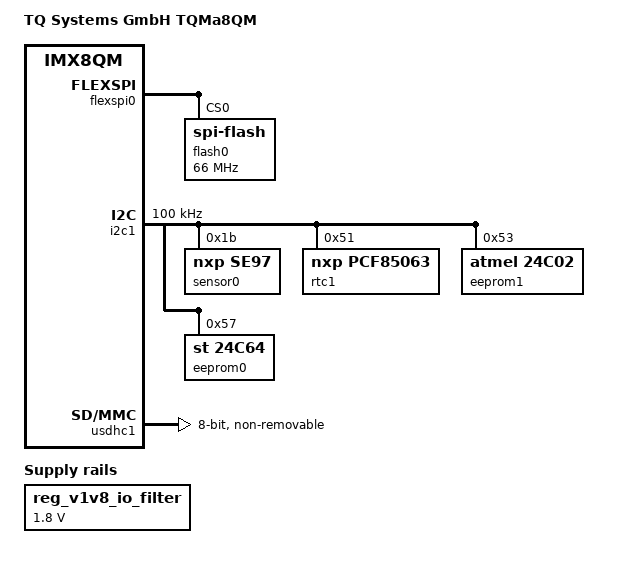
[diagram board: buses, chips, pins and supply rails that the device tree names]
/*
 * Copyright 2019 TQ Systems GmbH
 *
 * This program is free software; you can redistribute it and/or
 * modify it under the terms of the GNU General Public License
 * as published by the Free Software Foundation; either version 2
 * of the License, or (at your option) any later version.
 *
 * This program is distributed in the hope that it will be useful,
 * but WITHOUT ANY WARRANTY; without even the implied warranty of
 * MERCHANTABILITY or FITNESS FOR A PARTICULAR PURPOSE.  See the
 * GNU General Public License for more details.
 */

/ {
	model = "TQ Systems GmbH TQMa8QM";
	compatible = ",tq,tqma8qm", "fsl,imx8qm";

	lpspi1: lpspi@5a010000 {
		compatible = "fsl,imx7ulp-spi";
		reg = <0x0 0x5a010000 0x0 0x10000>;
		interrupts = <GIC_SPI 217 IRQ_TYPE_LEVEL_HIGH>;
		interrupt-parent = <&gic>;
		clocks = <&clk IMX8QM_SPI1_CLK>,
			 <&clk IMX8QM_SPI1_IPG_CLK>;
		clock-names = "per", "ipg";
		assigned-clocks = <&clk IMX8QM_SPI1_CLK>;
		assigned-clock-rates = <20000000>;
		power-domains = <&pd_dma_lpspi1>;
		dma-names = "tx","rx";
		dmas = <&edma0 3 0 0>, <&edma0 2 0 1>;
		status = "disabled";
	};

	lpspi2: lpspi@5a020000 {
		compatible = "fsl,imx7ulp-spi";
		reg = <0x0 0x5a020000 0x0 0x10000>;
		interrupts = <GIC_SPI 218 IRQ_TYPE_LEVEL_HIGH>;
		interrupt-parent = <&gic>;
		clocks = <&clk IMX8QM_SPI2_CLK>,
			 <&clk IMX8QM_SPI2_IPG_CLK>;
		clock-names = "per", "ipg";
		assigned-clocks = <&clk IMX8QM_SPI2_CLK>;
		assigned-clock-rates = <20000000>;
		power-domains = <&pd_dma_lpspi2>;
		dma-names = "tx","rx";
		dmas = <&edma0 5 0 0>, <&edma0 4 0 1>;
		status = "disabled";
	};

	reg_v1v8_io_filter: v1v8_io_filter {
		compatible = "regulator-fixed";
		regulator-name = "V_1V8_IO2_FILTER";
		regulator-min-microvolt = <1800000>;
		regulator-max-microvolt = <1800000>;
		regulator-always-on;
	};
};

&flexspi0 {
	pinctrl-names = "default";
	pinctrl-0 = <&pinctrl_flexspi0>;
	status = "okay";
	fsl,qspi-skip-dll-config;

	flash0: flash@0 {
		reg = <0>;
		#address-cells = <1>;
		#size-cells = <1>;
		compatible = "spi-flash";
		spi-max-frequency = <66000000>;
		spi-nor,ddr-quad-read-dummy = <8>;
	};
};

&gpio2 {
	status = "okay";
};

&gpio4 {
	status = "okay";
};

&gpio5 {
	status = "okay";
};

&i2c1 {
	#address-cells = <1>;
	#size-cells = <0>;
	clock-frequency = <100000>;
	pinctrl-names = "default";
	pinctrl-0 = <&pinctrl_lpi2c1>;
	status = "okay";

	/*
	 * NXP SE97BTP with temperature sensor + eeprom
	 * ATTENTION: do not use correct dt compatible since this will conflict
	 * with hwmon sysfs ABI and break device registration
	 */
	sensor0: jc42@1b {
		compatible = "nxp,se97", "jedec,jc-42.4-temp";
		reg = <0x1b>;
		status = "okay";
	};

	rtc1: pcf85063@51 {
		compatible = "nxp,pcf85063";
		reg = <0x51>;
		/* TODO: wakeup / alarm not implemented yet */
		/* TODO: capacity and offset prop needed for improved accuracy */
		quartz-load-femtofarads = <12500>;
		status = "okay";
	};

	eeprom1: 24c02@53 {
		compatible = "atmel,24c02";
		reg = <0x53>;
		pagesize = <16>;
		status = "okay";
	};

	eeprom0: m24c64@57 {
		compatible = "st,24c64", "atmel,24c64", "at24";
		reg = <0x57>;
		pagesize = <32>;
		status = "okay";
	};
};

&iomuxc {
	pinctrl_usdhc1: usdhc1grp {
		fsl,pins = <
			SC_P_EMMC0_CLK_CONN_EMMC0_CLK		0x06000041
			SC_P_EMMC0_CMD_CONN_EMMC0_CMD		0x00000021
			SC_P_EMMC0_DATA0_CONN_EMMC0_DATA0	0x00000021
			SC_P_EMMC0_DATA1_CONN_EMMC0_DATA1	0x00000021
			SC_P_EMMC0_DATA2_CONN_EMMC0_DATA2	0x00000021
			SC_P_EMMC0_DATA3_CONN_EMMC0_DATA3	0x00000021
			SC_P_EMMC0_DATA4_CONN_EMMC0_DATA4	0x00000021
			SC_P_EMMC0_DATA5_CONN_EMMC0_DATA5	0x00000021
			SC_P_EMMC0_DATA6_CONN_EMMC0_DATA6	0x00000021
			SC_P_EMMC0_DATA7_CONN_EMMC0_DATA7	0x00000021
			SC_P_EMMC0_STROBE_CONN_EMMC0_STROBE	0x06000041
			SC_P_EMMC0_RESET_B_CONN_EMMC0_RESET_B	0x00000021
		>;
	};

	pinctrl_usdhc1_100mhz: usdhc1grp100mhz {
		fsl,pins = <
			SC_P_EMMC0_CLK_CONN_EMMC0_CLK		0x06000040
			SC_P_EMMC0_CMD_CONN_EMMC0_CMD		0x00000021
			SC_P_EMMC0_DATA0_CONN_EMMC0_DATA0	0x00000021
			SC_P_EMMC0_DATA1_CONN_EMMC0_DATA1	0x00000021
			SC_P_EMMC0_DATA2_CONN_EMMC0_DATA2	0x00000021
			SC_P_EMMC0_DATA3_CONN_EMMC0_DATA3	0x00000021
			SC_P_EMMC0_DATA4_CONN_EMMC0_DATA4	0x00000021
			SC_P_EMMC0_DATA5_CONN_EMMC0_DATA5	0x00000021
			SC_P_EMMC0_DATA6_CONN_EMMC0_DATA6	0x00000021
			SC_P_EMMC0_DATA7_CONN_EMMC0_DATA7	0x00000021
			SC_P_EMMC0_STROBE_CONN_EMMC0_STROBE	0x06000040
			SC_P_EMMC0_RESET_B_CONN_EMMC0_RESET_B	0x00000020
		>;
	};

	pinctrl_usdhc1_200mhz: usdhc1grp200mhz {
		fsl,pins = <
			SC_P_EMMC0_CLK_CONN_EMMC0_CLK		0x06000040
			SC_P_EMMC0_CMD_CONN_EMMC0_CMD		0x00000021
			SC_P_EMMC0_DATA0_CONN_EMMC0_DATA0	0x00000021
			SC_P_EMMC0_DATA1_CONN_EMMC0_DATA1	0x00000021
			SC_P_EMMC0_DATA2_CONN_EMMC0_DATA2	0x00000021
			SC_P_EMMC0_DATA3_CONN_EMMC0_DATA3	0x00000021
			SC_P_EMMC0_DATA4_CONN_EMMC0_DATA4	0x00000021
			SC_P_EMMC0_DATA5_CONN_EMMC0_DATA5	0x00000021
			SC_P_EMMC0_DATA6_CONN_EMMC0_DATA6	0x00000021
			SC_P_EMMC0_DATA7_CONN_EMMC0_DATA7	0x00000021
			SC_P_EMMC0_STROBE_CONN_EMMC0_STROBE	0x06000040
			SC_P_EMMC0_RESET_B_CONN_EMMC0_RESET_B	0x00000020
		>;
	};

	pinctrl_lpi2c1: lpi2c1grp {
		fsl,pins = <
			SC_P_GPT0_CAPTURE_DMA_I2C1_SDA		0x0600004c
			SC_P_GPT0_CLK_DMA_I2C1_SCL		0x0600004c
		>;
	};

	pinctrl_flexspi0: flexspi0grp {
		fsl,pins = <
			SC_P_QSPI0A_DATA0_LSIO_QSPI0A_DATA0	0x0600004c
			SC_P_QSPI0A_DATA1_LSIO_QSPI0A_DATA1	0x0600004c
			SC_P_QSPI0A_DATA2_LSIO_QSPI0A_DATA2	0x0600004c
			SC_P_QSPI0A_DATA3_LSIO_QSPI0A_DATA3	0x0600004c
			SC_P_QSPI0A_DQS_LSIO_QSPI0A_DQS		0x0600004c
			SC_P_QSPI0A_SS0_B_LSIO_QSPI0A_SS0_B	0x0600004c
			SC_P_QSPI0A_SS1_B_LSIO_QSPI0A_SS1_B	0x0600004c
			SC_P_QSPI0A_SCLK_LSIO_QSPI0A_SCLK	0x0600004c
			SC_P_QSPI0B_SCLK_LSIO_QSPI0B_SCLK	0x0600004c
			SC_P_QSPI0B_DATA0_LSIO_QSPI0B_DATA0	0x0600004c
			SC_P_QSPI0B_DATA1_LSIO_QSPI0B_DATA1	0x0600004c
			SC_P_QSPI0B_DATA2_LSIO_QSPI0B_DATA2	0x0600004c
			SC_P_QSPI0B_DATA3_LSIO_QSPI0B_DATA3	0x0600004c
			SC_P_QSPI0B_DQS_LSIO_QSPI0B_DQS		0x0600004c
			SC_P_QSPI0B_SS0_B_LSIO_QSPI0B_SS0_B	0x0600004c
			SC_P_QSPI0B_SS1_B_LSIO_QSPI0B_SS1_B	0x0600004c
		>;
	};
};

&usdhc1 {
	pinctrl-names = "default", "state_100mhz", "state_200mhz";
	pinctrl-0 = <&pinctrl_usdhc1>;
	pinctrl-1 = <&pinctrl_usdhc1_100mhz>;
	pinctrl-2 = <&pinctrl_usdhc1_200mhz>;
	bus-width = <8>;
	non-removable;
	status = "okay";
};
